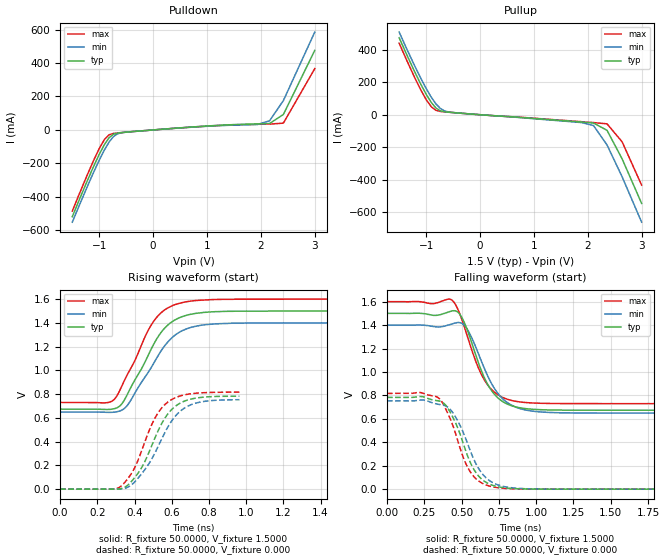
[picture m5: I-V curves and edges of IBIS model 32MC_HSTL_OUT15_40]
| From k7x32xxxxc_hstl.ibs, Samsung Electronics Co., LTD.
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|   Model 32MC_HSTL_OUT15_40
[Model]   32MC_HSTL_OUT15_40
Model_type   Output
Polarity   Non-Inverting
Enable   Active-High
Vmeas = 0.7500V
Cref =  0.000F
Rref =50.0000
Vref = 0.7500V
C_comp   0.8590pF   0.8410pF   0.8720pF
[model_spec]
Vmeas  0.7500V   0.7000V   0.8000V |VDDQ/2
[Temperature Range]   55.0000   0.1100k   0.000
[Voltage Range]   1.5000V   1.4000V   1.6000V
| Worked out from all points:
|   slope of the pulldown table from 0 to 0.225 V, typ, clamps not added: 39 ohm
|   slope of the pullup table from 0 to 0.225 V, typ, clamps not added: 42.9 ohm
|   rising waveform, R_fixture 50.0000, V_fixture 1.5000: 20-80 % time 176ps typ, 187ps min, 167ps max; typ from 0.673 V to 1.5 V
|   rising waveform, R_fixture 50.0000, V_fixture 0.000: 20-80 % time 148ps typ, 164ps min, 137ps max; typ from 0 V to 0.783 V
|   falling waveform, R_fixture 50.0000, V_fixture 1.5000: 20-80 % time 157ps typ, 172ps min, 160ps max; typ from 1.5 V to 0.673 V
|   falling waveform, R_fixture 50.0000, V_fixture 0.000: 20-80 % time 152ps typ, 162ps min, 146ps max; typ from 0.783 V to 0 V
[Pulldown]
| voltage   I(typ)   I(min/slow/weak)   I(max/fast/strong)
-1.5V     -518.3mA   -551.2mA   -485.1mA
-1.225V   -306.5mA   -341.2mA   -271.2mA
-1V       -146.3mA   -181mA     -111.4mA
-904mV    -87.5mA    -119.8mA   -57.23mA
-817mV    -46.49mA   -72.23mA   -28.89mA
-667mV    -19.59mA   -24.38mA   -18.06mA
-545mV    -14.7mA    -14.87mA   -14.17mA
878mV     21.01mA    19.61mA    20.49mA
1.931V    36.07mA    32.34mA    33.76mA
2.161V    38.09mA    54.78mA    34.82mA
2.418V    92.67mA    175.6mA    40.8mA
3V        475.3mA    584.8mA    366.4mA
[Pullup]
| voltage   I(typ)   I(min/slow/weak)   I(max/fast/strong)
-1.5V     474.4mA    509.2mA    440.7mA
-1.225V   273.8mA    310.3mA    238.2mA
-1V       126.8mA    162.5mA    93.87mA
-904mV    75.44mA    107.9mA    49.31mA
-817mV    41.29mA    66.67mA    26.88mA
-667mV    18.88mA    25mA       17.75mA
-401mV    10.45mA    10.79mA    10.31mA
1.883V    -45.1mA    -48.29mA   -42.89mA
2.107V    -51.27mA   -66.65mA   -48.54mA
2.358V    -96.1mA    -186.3mA   -56.22mA
2.638V    -272mA     -382.5mA   -166.9mA
3V        -546.7mA   -662.2mA   -434.1mA
[Ramp]
| variable   typ   min(slow/weak)   max(fast/strong)
dV/dt_r   0.4698/0.1476n   0.4521/0.1646n   0.4902/0.1365n
dV/dt_f   0.4960/0.1573n   0.4505/0.1723n   0.5221/0.1594n
R_load = 50.0000
[Rising Waveform]
R_fixture = 50.0000
V_fixture = 1.5000
V_fixture_min = 1.4000
V_fixture_max = 1.6000
L_fixture = 0.000H
C_fixture = 0.000F
| time   V(typ)   V(min)   V(max)
0s        673.4mV    649.1mV    729.8mV
257ps     670.7mV    646.5mV    729.4mV
291ps     677.3mV    648.3mV    756mV
316ps     694.5mV    655.8mV    816.2mV
363ps     803.1mV    708.8mV    969.7mV
509ps     1.237V     1.076V     1.426V
592ps     1.398V     1.261V     1.536V
688ps     1.467V     1.354V     1.58V
977ps     1.498V     1.398V     1.599V
3.999ns   1.5V       1.4V       1.6V
[Rising Waveform]
R_fixture = 50.0000
V_fixture = 0.000
V_fixture_min = 0.000
V_fixture_max = 0.000
L_fixture = 0.000H
C_fixture = 0.000F
| time   V(typ)   V(min)   V(max)
0s        2.557uV    18.4uV     0V
296ps     425.8uV    455.4uV    2.735mV
364ps     34.61mV    16.96mV    89.27mV
400ps     96.09mV    59.83mV    178.4mV
440ps     187mV      133.4mV    331.7mV
505ps     413.9mV    290.7mV    584.1mV
578ps     631mV      519.8mV    731.7mV
641ps     720.3mV    649.6mV    782.4mV
709ps     760.2mV    713.9mV    804.1mV
964ps     782.8mV    753mV      816.7mV
[Falling Waveform]
R_fixture = 50.0000
V_fixture = 1.5000
V_fixture_min = 1.4000
V_fixture_max = 1.6000
L_fixture = 0.000H
C_fixture = 0.000F
| time   V(typ)   V(min)   V(max)
0s        1.5V       1.4V       1.6V
312ps     1.483V     1.388V     1.583V
418ps     1.514V     1.403V     1.622V
469ps     1.516V     1.421V     1.551V
546ps     1.33V      1.347V     1.275V
661ps     927.8mV    1.005V     914.9mV
755ps     766.1mV    798.8mV    796mV
861ps     702.4mV    701.1mV    750.1mV
1.189ns   674.3mV    651.2mV    730.3mV
3.999ns   673.4mV    649.1mV    729.8mV
[Falling Waveform]
R_fixture = 50.0000
V_fixture = 0.000
V_fixture_min = 0.000
V_fixture_max = 0.000
L_fixture = 0.000H
C_fixture = 0.000F
| time   V(typ)   V(min)   V(max)
0s        783mV      753.6mV    817mV
229ps     790.5mV    760.9mV    823.1mV
335ps     755.4mV    726.4mV    786.6mV
379ps     734.2mV    716.3mV    720.9mV
460ps     564mV      614.3mV    472.3mV
555ps     237.2mV    337.9mV    154.1mV
637ps     82.92mV    133.9mV    51.52mV
730ps     24.72mV    43.06mV    14.82mV
1.046ns   385.3uV    1.021mV    150uV
3.999ns   0V         15.71uV    -1.919uV
